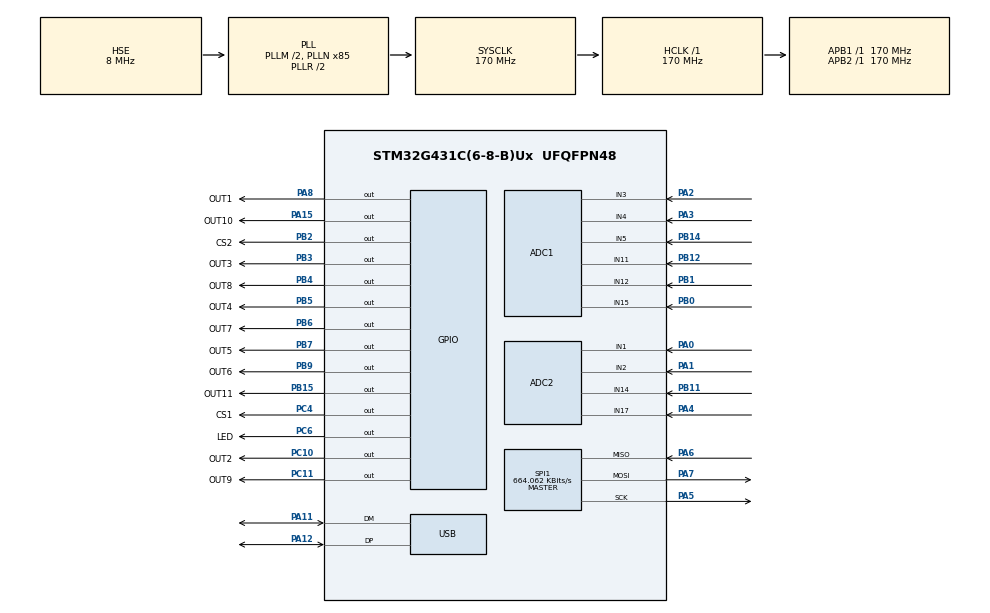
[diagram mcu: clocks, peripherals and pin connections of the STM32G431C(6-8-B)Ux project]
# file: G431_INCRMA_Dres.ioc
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ADC1.Channel-0\#ChannelRegularConversion=ADC_CHANNEL_3
ADC1.Channel-1\#ChannelRegularConversion=ADC_CHANNEL_4
ADC1.Channel-2\#ChannelRegularConversion=ADC_CHANNEL_5
ADC1.Channel-3\#ChannelRegularConversion=ADC_CHANNEL_11
ADC1.Channel-4\#ChannelRegularConversion=ADC_CHANNEL_12
ADC1.Channel-5\#ChannelRegularConversion=ADC_CHANNEL_15
ADC1.ContinuousConvMode=ENABLE
ADC1.DMAContinuousRequests=ENABLE
ADC1.NbrOfConversion=6
ADC1.NbrOfConversionFlag=1
ADC1.OffsetNumber-0\#ChannelRegularConversion=ADC_OFFSET_NONE
ADC1.OffsetNumber-1\#ChannelRegularConversion=ADC_OFFSET_NONE
ADC1.OffsetNumber-2\#ChannelRegularConversion=ADC_OFFSET_NONE
ADC1.OffsetNumber-3\#ChannelRegularConversion=ADC_OFFSET_NONE
ADC1.OffsetNumber-4\#ChannelRegularConversion=ADC_OFFSET_NONE
ADC1.OffsetNumber-5\#ChannelRegularConversion=ADC_OFFSET_NONE
ADC1.Rank-0\#ChannelRegularConversion=1
ADC1.Rank-1\#ChannelRegularConversion=2
ADC1.Rank-2\#ChannelRegularConversion=3
ADC1.Rank-3\#ChannelRegularConversion=4
ADC1.Rank-4\#ChannelRegularConversion=5
ADC1.Rank-5\#ChannelRegularConversion=6
ADC1.SamplingTime-0\#ChannelRegularConversion=ADC_SAMPLETIME_640CYCLES_5
ADC1.SamplingTime-1\#ChannelRegularConversion=ADC_SAMPLETIME_640CYCLES_5
ADC1.SamplingTime-2\#ChannelRegularConversion=ADC_SAMPLETIME_640CYCLES_5
ADC1.SamplingTime-3\#ChannelRegularConversion=ADC_SAMPLETIME_640CYCLES_5
ADC1.SamplingTime-4\#ChannelRegularConversion=ADC_SAMPLETIME_640CYCLES_5
ADC1.SamplingTime-5\#ChannelRegularConversion=ADC_SAMPLETIME_640CYCLES_5
ADC1.master=1
ADC2.Channel-0\#ChannelRegularConversion=ADC_CHANNEL_1
ADC2.Channel-1\#ChannelRegularConversion=ADC_CHANNEL_2
ADC2.Channel-2\#ChannelRegularConversion=ADC_CHANNEL_14
ADC2.Channel-3\#ChannelRegularConversion=ADC_CHANNEL_17
ADC2.ContinuousConvMode=ENABLE
ADC2.DMAContinuousRequests=ENABLE
ADC2.NbrOfConversion=4
ADC2.NbrOfConversionFlag=1
ADC2.OffsetNumber-0\#ChannelRegularConversion=ADC_OFFSET_NONE
ADC2.OffsetNumber-1\#ChannelRegularConversion=ADC_OFFSET_NONE
ADC2.OffsetNumber-2\#ChannelRegularConversion=ADC_OFFSET_NONE
ADC2.OffsetNumber-3\#ChannelRegularConversion=ADC_OFFSET_NONE
ADC2.OversamplingMode=DISABLE
ADC2.Rank-0\#ChannelRegularConversion=1
ADC2.Rank-1\#ChannelRegularConversion=2
ADC2.Rank-2\#ChannelRegularConversion=3
ADC2.Rank-3\#ChannelRegularConversion=4
ADC2.SamplingTime-0\#ChannelRegularConversion=ADC_SAMPLETIME_640CYCLES_5
ADC2.SamplingTime-1\#ChannelRegularConversion=ADC_SAMPLETIME_640CYCLES_5
ADC2.SamplingTime-2\#ChannelRegularConversion=ADC_SAMPLETIME_640CYCLES_5
ADC2.SamplingTime-3\#ChannelRegularConversion=ADC_SAMPLETIME_640CYCLES_5
Dma.ADC1.0.Direction=DMA_PERIPH_TO_MEMORY
Dma.ADC1.0.EventEnable=DISABLE
Dma.ADC1.0.Instance=DMA1_Channel1
Dma.ADC1.0.MemDataAlignment=DMA_MDATAALIGN_HALFWORD
Dma.ADC1.0.MemInc=DMA_MINC_ENABLE
Dma.ADC1.0.Mode=DMA_CIRCULAR
Dma.ADC1.0.PeriphDataAlignment=DMA_PDATAALIGN_HALFWORD
Dma.ADC1.0.PeriphInc=DMA_PINC_DISABLE
Dma.ADC1.0.Polarity=HAL_DMAMUX_REQ_GEN_RISING
Dma.ADC1.0.Priority=DMA_PRIORITY_LOW
Dma.ADC1.0.RequestNumber=1
Dma.ADC1.0.SignalID=NONE
Dma.ADC1.0.SyncEnable=DISABLE
Dma.ADC1.0.SyncPolarity=HAL_DMAMUX_SYNC_NO_EVENT
Dma.ADC1.0.SyncRequestNumber=1
Dma.ADC1.0.SyncSignalID=NONE
Dma.ADC2.1.Direction=DMA_PERIPH_TO_MEMORY
Dma.ADC2.1.EventEnable=DISABLE
Dma.ADC2.1.Instance=DMA1_Channel2
Dma.ADC2.1.MemDataAlignment=DMA_MDATAALIGN_HALFWORD
Dma.ADC2.1.MemInc=DMA_MINC_ENABLE
Dma.ADC2.1.Mode=DMA_CIRCULAR
Dma.ADC2.1.PeriphDataAlignment=DMA_PDATAALIGN_HALFWORD
Dma.ADC2.1.PeriphInc=DMA_PINC_DISABLE
Dma.ADC2.1.Polarity=HAL_DMAMUX_REQ_GEN_RISING
Dma.ADC2.1.Priority=DMA_PRIORITY_LOW
Dma.ADC2.1.RequestNumber=1
Dma.ADC2.1.SignalID=NONE
Dma.ADC2.1.SyncEnable=DISABLE
Dma.ADC2.1.SyncPolarity=HAL_DMAMUX_SYNC_NO_EVENT
Dma.ADC2.1.SyncRequestNumber=1
Dma.ADC2.1.SyncSignalID=NONE
Dma.Request0=ADC1
Dma.Request1=ADC2
FREERTOS.BinarySemaphores01=dataBinarySem,Dynamic,NULL
FREERTOS.INCLUDE_vTaskDelayUntil=1
FREERTOS.Tasks01=defaultTask,0,1024,StartDefaultTask,Default,NULL,Dynamic,NULL,NULL;sampleTask,2,128,SampleTask,Default,NULL,Dynamic,NULL,NULL
FREERTOS.configTOTAL_HEAP_SIZE=10240
Mcu.Family=STM32G4
Mcu.Name=STM32G431C(6-8-B)Ux
Mcu.Package=UFQFPN48
NVIC.DMA1_Channel1_IRQn=true\:5\:0\:false\:false\:true\:true\:false\:true\:true
NVIC.DMA1_Channel2_IRQn=true\:5\:0\:false\:false\:true\:true\:false\:true\:true
NVIC.PriorityGroup=NVIC_PRIORITYGROUP_4
NVIC.TIM1_TRG_COM_TIM17_IRQn=true\:15\:0\:false\:false\:true\:false\:false\:true\:true
NVIC.TimeBase=TIM1_TRG_COM_TIM17_IRQn
NVIC.TimeBaseIP=TIM17
NVIC.USB_LP_IRQn=true\:5\:0\:false\:false\:true\:true\:false\:true\:true
PA0.Mode=IN1-Single-Ended
PA0.Signal=ADC2_IN1
PA1.Mode=IN2-Single-Ended
PA1.Signal=ADC2_IN2
PA11.Mode=Device
PA11.Signal=USB_DM
PA12.Mode=Device
PA12.Signal=USB_DP
PA13.Mode=Serial_Wire
PA13.Signal=SYS_JTMS-SWDIO
PA14.Mode=Serial_Wire
PA14.Signal=SYS_JTCK-SWCLK
PA15.GPIO_Label=OUT10
PA15.GPIO_ModeDefaultOutputPP=GPIO_MODE_OUTPUT_PP
PA15.GPIO_PuPd=GPIO_NOPULL
PA15.GPIO_Speed=GPIO_SPEED_FREQ_VERY_HIGH
PA15.PinState=GPIO_PIN_SET
PA15.Signal=GPIO_Output
PA2.Mode=IN3-Single-Ended
PA2.Signal=ADC1_IN3
PA3.Mode=IN4-Single-Ended
PA3.Signal=ADC1_IN4
PA4.Mode=IN17-Single-Ended
PA4.Signal=ADC2_IN17
PA5.Mode=Full_Duplex_Master
PA5.Signal=SPI1_SCK
PA6.Mode=Full_Duplex_Master
PA6.Signal=SPI1_MISO
PA7.Mode=Full_Duplex_Master
PA7.Signal=SPI1_MOSI
PA8.GPIO_Label=OUT1
PA8.GPIO_ModeDefaultOutputPP=GPIO_MODE_OUTPUT_PP
PA8.GPIO_PuPd=GPIO_NOPULL
PA8.GPIO_Speed=GPIO_SPEED_FREQ_VERY_HIGH
PA8.PinState=GPIO_PIN_SET
PA8.Signal=GPIO_Output
PB0.Mode=IN15-Single-Ended
PB0.Signal=ADC1_IN15
PB1.Mode=IN12-Single-Ended
PB1.Signal=ADC1_IN12
PB11.Mode=IN14-Single-Ended
PB11.Signal=ADC2_IN14
PB12.Mode=IN11-Single-Ended
PB12.Signal=ADC1_IN11
PB14.Mode=IN5-Single-Ended
PB14.Signal=ADC1_IN5
PB15.GPIO_Label=OUT11
PB15.GPIO_PuPd=GPIO_NOPULL
PB15.GPIO_Speed=GPIO_SPEED_FREQ_VERY_HIGH
PB15.PinState=GPIO_PIN_SET
PB15.Signal=GPIO_Output
PB2.GPIO_Label=CS2
PB2.GPIO_PuPd=GPIO_PULLUP
PB2.PinState=GPIO_PIN_SET
PB2.Signal=GPIO_Output
PB3.GPIO_Label=OUT3
PB3.GPIO_ModeDefaultOutputPP=GPIO_MODE_OUTPUT_PP
PB3.GPIO_PuPd=GPIO_NOPULL
PB3.GPIO_Speed=GPIO_SPEED_FREQ_VERY_HIGH
PB3.PinState=GPIO_PIN_SET
PB3.Signal=GPIO_Output
PB4.GPIO_Label=OUT8
PB4.GPIO_ModeDefaultOutputPP=GPIO_MODE_OUTPUT_PP
PB4.GPIO_PuPd=GPIO_NOPULL
PB4.GPIO_Speed=GPIO_SPEED_FREQ_VERY_HIGH
PB4.PinState=GPIO_PIN_SET
PB4.Signal=GPIO_Output
PB5.GPIO_Label=OUT4
PB5.GPIO_ModeDefaultOutputPP=GPIO_MODE_OUTPUT_PP
PB5.GPIO_PuPd=GPIO_NOPULL
PB5.GPIO_Speed=GPIO_SPEED_FREQ_VERY_HIGH
PB5.PinState=GPIO_PIN_SET
PB5.Signal=GPIO_Output
PB6.GPIO_Label=OUT7
PB6.GPIO_ModeDefaultOutputPP=GPIO_MODE_OUTPUT_PP
PB6.GPIO_PuPd=GPIO_NOPULL
PB6.GPIO_Speed=GPIO_SPEED_FREQ_VERY_HIGH
PB6.PinState=GPIO_PIN_SET
PB6.Signal=GPIO_Output
PB7.GPIO_Label=OUT5
PB7.GPIO_ModeDefaultOutputPP=GPIO_MODE_OUTPUT_PP
PB7.GPIO_PuPd=GPIO_NOPULL
PB7.GPIO_Speed=GPIO_SPEED_FREQ_VERY_HIGH
PB7.PinState=GPIO_PIN_SET
PB7.Signal=GPIO_Output
PB9.GPIO_Label=OUT6
PB9.GPIO_ModeDefaultOutputPP=GPIO_MODE_OUTPUT_PP
PB9.GPIO_PuPd=GPIO_NOPULL
PB9.GPIO_Speed=GPIO_SPEED_FREQ_VERY_HIGH
PB9.PinState=GPIO_PIN_SET
PB9.Signal=GPIO_Output
PC10.GPIO_Label=OUT2
PC10.GPIO_ModeDefaultOutputPP=GPIO_MODE_OUTPUT_PP
PC10.GPIO_PuPd=GPIO_NOPULL
PC10.GPIO_Speed=GPIO_SPEED_FREQ_VERY_HIGH
PC10.PinState=GPIO_PIN_SET
PC10.Signal=GPIO_Output
PC11.GPIO_Label=OUT9
PC11.GPIO_ModeDefaultOutputPP=GPIO_MODE_OUTPUT_PP
PC11.GPIO_PuPd=GPIO_NOPULL
PC11.GPIO_Speed=GPIO_SPEED_FREQ_VERY_HIGH
PC11.PinState=GPIO_PIN_SET
PC11.Signal=GPIO_Output
PC4.GPIO_Label=CS1
PC4.GPIO_PuPd=GPIO_PULLUP
PC4.GPIO_Speed=GPIO_SPEED_FREQ_LOW
PC4.PinState=GPIO_PIN_SET
PC4.Signal=GPIO_Output
PC6.GPIO_Label=LED
PC6.GPIO_ModeDefaultOutputPP=GPIO_MODE_OUTPUT_PP
PC6.GPIO_PuPd=GPIO_PULLUP
PC6.GPIO_Speed=GPIO_SPEED_FREQ_VERY_HIGH
PC6.PinState=GPIO_PIN_SET
PC6.Signal=GPIO_Output
PF0-OSC_IN.Mode=HSE-External-Oscillator
PF0-OSC_IN.Signal=RCC_OSC_IN
PF1-OSC_OUT.Mode=HSE-External-Oscillator
PF1-OSC_OUT.Signal=RCC_OSC_OUT
ProjectManager.HeapSize=0x100
ProjectManager.StackSize=0x400
ProjectManager.TargetToolchain=MDK-ARM V5.32
RCC.ADC12Freq_Value=170000000
RCC.AHBFreq_Value=170000000
RCC.APB1Freq_Value=170000000
RCC.APB1TimFreq_Value=170000000
RCC.APB2Freq_Value=170000000
RCC.APB2TimFreq_Value=170000000
RCC.CK48CLockSelection=RCC_USBCLKSOURCE_HSI48
RCC.CortexFreq_Value=170000000
RCC.EXTERNAL_CLOCK_VALUE=12288000
RCC.HCLKFreq_Value=170000000
RCC.HSE_VALUE=8000000
RCC.HSI48_VALUE=48000000
RCC.HSI_VALUE=16000000
RCC.LSE_VALUE=32768
RCC.PLLM=RCC_PLLM_DIV2
RCC.PLLN=85
RCC.PLLSourceVirtual=RCC_PLLSOURCE_HSE
RCC.SYSCLKFreq_VALUE=170000000
RCC.SYSCLKSource=RCC_SYSCLKSOURCE_PLLCLK
RCC.USBFreq_Value=48000000
RCC.VCOOutputFreq_Value=340000000
SPI1.BaudRatePrescaler=SPI_BAUDRATEPRESCALER_256
SPI1.CalculateBaudRate=664.062 KBits/s
SPI1.DataSize=SPI_DATASIZE_8BIT
SPI1.Direction=SPI_DIRECTION_2LINES
SPI1.Mode=SPI_MODE_MASTER
SPI1.VirtualType=VM_MASTER
TIM7.Prescaler=169
USB_DEVICE.CLASS_NAME_FS=CDC
USB_DEVICE.VirtualMode=Cdc
USB_DEVICE.VirtualModeFS=Cdc_FS
VP_FREERTOS_VS_CMSIS_V1.Mode=CMSIS_V1
VP_SYS_VS_DBSignals.Mode=DisableDeadBatterySignals
VP_SYS_VS_tim17.Mode=TIM17
VP_TIM7_VS_ClockSourceINT.Mode=Enable_Timer
VP_USB_DEVICE_VS_USB_DEVICE_CDC_FS.Mode=CDC_FS
board=custom

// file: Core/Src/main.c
/* USER CODE BEGIN Header */
/**
  ******************************************************************************
  * @file           : main.c
  * @brief          : Main program body
  ******************************************************************************
  * @attention
  *
  * Copyright (c) 2025 STMicroelectronics.
  * All rights reserved.
  *
  * This software is licensed under terms that can be found in the LICENSE file
  * in the root directory of this software component.
  * If no LICENSE file comes with this software, it is provided AS-IS.
  *
  ******************************************************************************
  */
/* USER CODE END Header */
#include "main.h"
#include "cmsis_os.h"
#include "adc.h"
#include "dma.h"
#include "spi.h"
#include "tim.h"
#include "usb_device.h"
#include "gpio.h"

void SystemClock_Config(void);
void MX_FREERTOS_Init(void);

int main(void)
{

  /* MCU Configuration--------------------------------------------------------*/

  /* Reset of all peripherals, Initializes the Flash interface and the Systick. */
  HAL_Init();

  /* Configure the system clock */
  SystemClock_Config();

  /* Initialize all configured peripherals */
  MX_GPIO_Init();
  MX_DMA_Init();
  MX_USB_Device_Init();
  MX_ADC1_Init();
  MX_ADC2_Init();
  MX_TIM7_Init();
  MX_SPI1_Init();
  /* USER CODE BEGIN 2 */
	LL_TIM_SetCounter(TIM7, 0);
//	LL_TIM_EnableIT_UPDATE(TIM7);//start TIM7 IRQ
	LL_TIM_EnableCounter(TIM7);//start TIM7

	for(uint8_t i=0;i<5;i++)
	{
		AD5206_SetResistance(0, 0, 150);//U3 上面这个
		AD5206_SetResistance(0, 1, 150);//0为49Ω左右，1为460Ω左右，2为865Ω左右，3为1275Ω左右，4为1700Ω左右，5为2100Ω左右，6为2500Ω左右，12为4940Ω左右，24为9900Ω左右，25为10270Ω左右
		AD5206_SetResistance(0, 2, 150);//125为50.0kΩ左右
		AD5206_SetResistance(0, 3, 150);
		AD5206_SetResistance(0, 5, 150);
		AD5206_SetResistance(1, 0, 150);//U4 下面这个
		AD5206_SetResistance(1, 1, 150);//0为49Ω左右，1为440Ω左右，2为827Ω左右，3为1218Ω左右，4为1600Ω左右，5为1990Ω左右，6为2377Ω左右，12为4740Ω左右，24为9300Ω左右，25为9700Ω左右
		AD5206_SetResistance(1, 2, 150);//125为49.0kΩ左右
		AD5206_SetResistance(1, 3, 150);
		AD5206_SetResistance(1, 5, 150);
	}

//	while(1)
//	{
//		OUT10_GPIO_Port->BSRR=(OUT10_Pin << 16);//低电平
//		OUT1_GPIO_Port->BSRR=(OUT1_Pin << 16);//低电平
//		HAL_Delay(1);
//		OUT10_GPIO_Port->BSRR=OUT10_Pin;//高电平
//		OUT1_GPIO_Port->BSRR=OUT1_Pin;//高电平
//		HAL_Delay(2);
//	}
  /* USER CODE END 2 */

  /* Call init function for freertos objects (in freertos.c) */
  MX_FREERTOS_Init();

  /* Start scheduler */
  osKernelStart();

  /* We should never get here as control is now taken by the scheduler */
  /* Infinite loop */
  while (1)
  {

  }
}

void SystemClock_Config(void)
{
  RCC_OscInitTypeDef RCC_OscInitStruct = {0};
  RCC_ClkInitTypeDef RCC_ClkInitStruct = {0};

  /** Configure the main internal regulator output voltage
  */
  HAL_PWREx_ControlVoltageScaling(PWR_REGULATOR_VOLTAGE_SCALE1_BOOST);

  /** Initializes the RCC Oscillators according to the specified parameters
  * in the RCC_OscInitTypeDef structure.
  */
  RCC_OscInitStruct.OscillatorType = RCC_OSCILLATORTYPE_HSI48|RCC_OSCILLATORTYPE_HSE;
  RCC_OscInitStruct.HSEState = RCC_HSE_ON;
  RCC_OscInitStruct.HSI48State = RCC_HSI48_ON;
  RCC_OscInitStruct.PLL.PLLState = RCC_PLL_ON;
  RCC_OscInitStruct.PLL.PLLSource = RCC_PLLSOURCE_HSE;
  RCC_OscInitStruct.PLL.PLLM = RCC_PLLM_DIV2;
  RCC_OscInitStruct.PLL.PLLN = 85;
  RCC_OscInitStruct.PLL.PLLP = RCC_PLLP_DIV2;
  RCC_OscInitStruct.PLL.PLLQ = RCC_PLLQ_DIV2;
  RCC_OscInitStruct.PLL.PLLR = RCC_PLLR_DIV2;
  if (HAL_RCC_OscConfig(&RCC_OscInitStruct) != HAL_OK)
  {
    Error_Handler();
  }

  /** Initializes the CPU, AHB and APB buses clocks
  */
  RCC_ClkInitStruct.ClockType = RCC_CLOCKTYPE_HCLK|RCC_CLOCKTYPE_SYSCLK
                              |RCC_CLOCKTYPE_PCLK1|RCC_CLOCKTYPE_PCLK2;
  RCC_ClkInitStruct.SYSCLKSource = RCC_SYSCLKSOURCE_PLLCLK;
  RCC_ClkInitStruct.AHBCLKDivider = RCC_SYSCLK_DIV1;
  RCC_ClkInitStruct.APB1CLKDivider = RCC_HCLK_DIV1;
  RCC_ClkInitStruct.APB2CLKDivider = RCC_HCLK_DIV1;

  if (HAL_RCC_ClockConfig(&RCC_ClkInitStruct, FLASH_LATENCY_4) != HAL_OK)
  {
    Error_Handler();
  }
}

/* USER CODE BEGIN 4 */
void user_delaynus_tim(uint16_t nus)
{
//    uint16_t differ = 0xFFFF - nus - 5;
//	uint16_t start_cnt=LL_TIM_GetCounter(TIM7);

	LL_TIM_SetCounter(TIM7, 0);

//	if (start_cnt + nus < 0xFFFF)
	{
		while (LL_TIM_GetCounter(TIM7) < nus)
		{
			// Optionally, add a timeout condition here to avoid an infinite loop
		}

	}

//    // Set the timer counter value
//    LL_TIM_SetCounter(TIM7, differ);
//

//    // Enable the timer
//    LL_TIM_EnableCounter(TIM7);

//    // Wait until the timer reaches the target value
//    while (LL_TIM_GetCounter(TIM7) < 0xFFFF - 5)
//    {
//        // Optionally, add a timeout condition here to avoid an infinite loop
//    }

//    // Disable the timer
//    LL_TIM_DisableCounter(TIM7);

}
/* USER CODE END 4 */

void HAL_TIM_PeriodElapsedCallback(TIM_HandleTypeDef *htim)
{
  if (htim->Instance == TIM17) {
    HAL_IncTick();
  }
}

void Error_Handler(void)
{
  __disable_irq();
  while (1)
  {
  }
}

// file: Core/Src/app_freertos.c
/* USER CODE BEGIN Header */
/**
  ******************************************************************************
  * File Name          : app_freertos.c
  * Description        : Code for freertos applications
  ******************************************************************************
  * @attention
  *
  * Copyright (c) 2025 STMicroelectronics.
  * All rights reserved.
  *
  * This software is licensed under terms that can be found in the LICENSE file
  * in the root directory of this software component.
  * If no LICENSE file comes with this software, it is provided AS-IS.
  *
  ******************************************************************************
  */
/* USER CODE END Header */

#include "FreeRTOS.h"
#include "task.h"
#include "main.h"
#include "cmsis_os.h"

osThreadId defaultTaskHandle;
osThreadId sampleTaskHandle;
osSemaphoreId dataBinarySemHandle;

void StartDefaultTask(void const * argument);
void SampleTask(void const * argument);

void MX_FREERTOS_Init(void); /* (MISRA C 2004 rule 8.1) */

void MX_FREERTOS_Init(void) {

  /* Create the semaphores(s) */
  /* definition and creation of dataBinarySem */
  osSemaphoreDef(dataBinarySem);
  dataBinarySemHandle = osSemaphoreCreate(osSemaphore(dataBinarySem), 1);

  /* Create the thread(s) */
  /* definition and creation of defaultTask */
  osThreadDef(defaultTask, StartDefaultTask, osPriorityNormal, 0, 1024);
  defaultTaskHandle = osThreadCreate(osThread(defaultTask), NULL);

  /* definition and creation of sampleTask */
  osThreadDef(sampleTask, SampleTask, osPriorityHigh, 0, 128);
  sampleTaskHandle = osThreadCreate(osThread(sampleTask), NULL);

}

/* USER CODE BEGIN Header_StartDefaultTask */
/**
  * @brief  Function implementing the defaultTask thread.
  * @param  argument: Not used
  * @retval None
  */

/*
R1 :v1 5           adc1_value[5]
R2 :v1 4           adc1_value[4]
R3 :v2 0           adc2_value[0]
R4 :v1 3           adc1_value[3]
R5 :v1 1           adc1_value[1]
R7 :v1 0           adc1_value[0]
R8 :v1 2           adc1_value[2]
R9 :v2 1           adc2_value[1]
R10:v1 6           adc1_value[6]
R11:v1 7           adc1_value[7]
*/
uint16_t samp_data[11][10];
uint16_t adc1_value[6];
uint16_t adc2_value[4];
volatile Word_union res_data_1[1104];
volatile Word_union res_data_2[1104];
volatile Word_union* res_send_p=res_data_1;
volatile Word_union* res_store_p=res_data_2;
/* USER CODE END Header_StartDefaultTask */
void StartDefaultTask(void const * argument)
{
  /* USER CODE BEGIN StartDefaultTask */
	uint8_t usb_TxBuf[2048];//小心不要超过任务栈大小
	uint32_t usb_RxLength=0;
	uint8_t USBD_Result=0;

	static uint32_t index = 0;          // 数据帧索引
	static double res_ref_kOm = 60.0;

  /* Infinite loop */
	for(;;)
	{
		HAL_GPIO_TogglePin(LED_GPIO_Port,LED_Pin);

////		osSemaphoreWait(dataBinarySemHandle, osWaitForever);
		if(osSemaphoreWait(dataBinarySemHandle, 0) == osOK)
		{
			// 格式化数据帧（示例：每行11通道，共10组）
			sprintf((char *)usb_TxBuf,
					"Frame %02d: \r\n",
					index++);

			for (uint8_t i = 0; i < 11; i++) {
				sprintf((char *)usb_TxBuf + strlen((char *)usb_TxBuf),
					"line:%2d:%4d %4d %4d %4d %4d %4d %4d %4d %4d %4d \r\n",
						i+1,
						samp_data[i][0], samp_data[i][1], samp_data[i][2],
						samp_data[i][3], samp_data[i][4], samp_data[i][5],
						samp_data[i][6], samp_data[i][7], samp_data[i][8],
						samp_data[i][9]);
			}
			sprintf((char *)usb_TxBuf + strlen((char *)usb_TxBuf),
					"value: (kOm)\r\n");
			for (uint8_t i = 0; i < 11; i++) {
				sprintf((char *)usb_TxBuf + strlen((char *)usb_TxBuf),
					"line:%2d:%02.2f  %02.2f  %02.2f  %02.2f  %02.2f  %02.2f  %02.2f  %02.2f  %02.2f  %02.2f \r\n",
						i+1,
						(4095-samp_data[0][0])/(float)(4095-samp_data[i][0])*res_ref_kOm, (4095-samp_data[0][1])/(float)(4095-samp_data[i][1])*res_ref_kOm, (4095-samp_data[0][2])/(float)(4095-samp_data[i][2])*res_ref_kOm,
						(4095-samp_data[0][3])/(float)(4095-samp_data[i][3])*res_ref_kOm, (4095-samp_data[0][4])/(float)(4095-samp_data[i][4])*res_ref_kOm, (4095-samp_data[0][5])/(float)(4095-samp_data[i][5])*res_ref_kOm,
						(4095-samp_data[0][6])/(float)(4095-samp_data[i][6])*res_ref_kOm, (4095-samp_data[0][7])/(float)(4095-samp_data[i][7])*res_ref_kOm, (4095-samp_data[0][8])/(float)(4095-samp_data[i][8])*res_ref_kOm,
						(4095-samp_data[0][9])/(float)(4095-samp_data[i][9])*res_ref_kOm);
			}

			usb_RxLength=strlen((char *)usb_TxBuf);
			CDC_Transmit_FS(usb_TxBuf, usb_RxLength);//USB CDC测试

			osSemaphoreRelease(dataBinarySemHandle);
		}
		osDelay(100);

// 640.5+12.5=653
////		OUT11_GPIO_Port->BSRR = (OUT11_Pin << 16);//低电平
//		OUT11_GPIO_Port->BSRR = OUT11_Pin;//高电平
//
//		user_delaynus_tim(25);//  1/42.5MHz*105cycles *8ch = 19.76us
//
//		sprintf((char *)usb_TxBuf,"adc1_value 1: %4d %4d %4d %4d %4d %4d %4d %4d\r\n",adc1_value[0],adc1_value[1],adc1_value[2],adc1_value[3],adc1_value[4],adc1_value[5],adc1_value[6],adc1_value[7]);
//		usb_RxLength=strlen((char *)usb_TxBuf);
//		CDC_Transmit_FS(usb_TxBuf, usb_RxLength);//USB CDC测试
//
//
//		OUT11_GPIO_Port->BSRR = (OUT11_Pin << 16);//低电平
////		OUT11_GPIO_Port->BSRR = OUT11_Pin;//高电平
//
//		user_delaynus_tim(25);
//
//		sprintf((char *)usb_TxBuf,"adc1_value 2: %4d %4d %4d %4d %4d %4d %4d %4d\r\n",adc1_value[0],adc1_value[1],adc1_value[2],adc1_value[3],adc1_value[4],adc1_value[5],adc1_value[6],adc1_value[7]);
//		usb_RxLength=strlen((char *)usb_TxBuf);
//
//		user_delaynus_tim(100);
//		CDC_Transmit_FS(usb_TxBuf, usb_RxLength);//USB CDC测试
//
//
//		OUT11_GPIO_Port->BSRR = OUT11_Pin;//高电平
//		user_delaynus_tim(20);//  1/42.5MHz*260cycles *2ch = 12.24us
//		sprintf((char *)usb_TxBuf,"adc2_value  : %4d %4d\r\n",adc2_value[0],adc2_value[1]);
//		usb_RxLength=strlen((char *)usb_TxBuf);
//
//		user_delaynus_tim(500);
//		CDC_Transmit_FS(usb_TxBuf, usb_RxLength);//USB CDC测试
//
//		OUT11_GPIO_Port->BSRR = (OUT11_Pin << 16);//低电平
//		osDelay(1000);

//		for(uint16_t i = 0;i<1000;i++)
//		for(uint16_t j = 0;j<50;j++)
//		user_delaynus_tim(10);

//		user_delaynus_tim(100);
//		osDelay(100);
	}
  /* USER CODE END StartDefaultTask */
}

void SampleTask(void const * argument)
{
  /* USER CODE BEGIN SampleTask */
	HAL_ADC_Start_DMA(&hadc1, (uint32_t *)adc1_value, 6);
	HAL_ADC_Start_DMA(&hadc2, (uint32_t *)adc2_value, 4);

	TickType_t xLastWakeTime;
    const TickType_t xFrequency = pdMS_TO_TICKS(10);  // 1秒周期[6](@ref)

	res_data_1[0].byte[0]=0x55;//帧头
	res_data_1[0].byte[1]=0xAA;
	res_data_1[1].byte[0]=0xBB;
	res_data_1[1].byte[1]=0xCC;
	for(uint16_t i=0;i<1100;i++)
	{
//		res_send_p[2+i].word16=i*1+1;
		res_data_1[2+i].word16=i*1+1;
	}
	res_data_1[1102].byte[0]=0xAA;//帧尾
	res_data_1[1102].byte[1]=0x55;
	res_data_1[1103].byte[0]=0x66;
	res_data_1[1103].byte[1]=0x77;

	res_data_2[0].byte[0]=0x55;//帧头
	res_data_2[0].byte[1]=0xAA;
	res_data_2[1].byte[0]=0xBB;
	res_data_2[1].byte[1]=0xCC;
	for(uint16_t i=0;i<1100;i++)
	{
		res_data_2[2+i].word16=i*2+2;
	}
	res_data_2[1102].byte[0]=0xAA;//帧尾
	res_data_2[1102].byte[1]=0x55;
	res_data_2[1103].byte[0]=0x66;
	res_data_2[1103].byte[1]=0x77;

    xLastWakeTime = xTaskGetTickCount();  // 初始化基准时间[2](@ref)
  /* Infinite loop */
	for(;;)
	{
		for(uint8_t j=0;j<10;j++)
		{
			if(osSemaphoreWait(dataBinarySemHandle, 0) == osOK)//		osSemaphoreWait(dataBinarySemHandle, osWaitForever);
			{
				for(uint8_t i=0;i<11;i++)
				{
					select_switcher(i);
//					select_switcher_2(i);
					user_delaynus_tim(500);

//					samp_data[i][9]=adc1_value[5];//IN10对应R1
//					samp_data[i][8]=adc1_value[4];//IN9 对应R2
//					samp_data[i][7]=adc1_value[8];//IN8 对应R3
//					samp_data[i][6]=adc1_value[3];//IN7 对应R4
//					samp_data[i][5]=adc1_value[1];//IN6 对应R5
//					samp_data[i][4]=adc1_value[0];//IN5 对应R7
//					samp_data[i][3]=adc1_value[2];//IN4 对应R8
//					samp_data[i][2]=adc2_value[0];//IN3 对应R9
//					samp_data[i][1]=adc1_value[6];//IN2 对应R10
//					samp_data[i][0]=adc1_value[7];//IN1 对应R11

					samp_data[i][9]=adc1_value[3];//IN10对应R1
					samp_data[i][8]=adc1_value[2];//IN9 对应R2
					samp_data[i][7]=adc1_value[5];//IN8 对应R3
					samp_data[i][6]=adc1_value[1];//IN7 对应R4
					samp_data[i][5]=adc2_value[1];//IN6 对应R5
					samp_data[i][4]=adc2_value[0];//IN5 对应R7
					samp_data[i][3]=adc1_value[0];//IN4 对应R8
					samp_data[i][2]=adc2_value[3];//IN3 对应R9
					samp_data[i][1]=adc1_value[4];//IN2 对应R10
					samp_data[i][0]=adc2_value[2];//IN1 对应R11

//					//+2是为了跳过帧头
					res_store_p[j*110+i*10+0+2].word16=samp_data[i][0];
					res_store_p[j*110+i*10+1+2].word16=samp_data[i][1];
					res_store_p[j*110+i*10+2+2].word16=samp_data[i][2];
					res_store_p[j*110+i*10+3+2].word16=samp_data[i][3];
					res_store_p[j*110+i*10+4+2].word16=samp_data[i][4];
					res_store_p[j*110+i*10+5+2].word16=samp_data[i][5];
					res_store_p[j*110+i*10+6+2].word16=samp_data[i][6];
					res_store_p[j*110+i*10+7+2].word16=samp_data[i][7];
					res_store_p[j*110+i*10+8+2].word16=samp_data[i][8];
					res_store_p[j*110+i*10+9+2].word16=samp_data[i][9];

//////////					if( i > 0 )//不发送参考电阻的那行数据
//////////					{
//////////						//+2是为了跳过帧头
//////////						res_store_p[j*100+(i-1)*10+0+2].word16=samp_data[i][0];
//////////						res_store_p[j*100+(i-1)*10+1+2].word16=samp_data[i][1];
//////////						res_store_p[j*100+(i-1)*10+2+2].word16=samp_data[i][2];
//////////						res_store_p[j*100+(i-1)*10+3+2].word16=samp_data[i][3];
//////////						res_store_p[j*100+(i-1)*10+4+2].word16=samp_data[i][4];
//////////						res_store_p[j*100+(i-1)*10+5+2].word16=samp_data[i][5];
//////////						res_store_p[j*100+(i-1)*10+6+2].word16=samp_data[i][6];
//////////						res_store_p[j*100+(i-1)*10+7+2].word16=samp_data[i][7];
//////////						res_store_p[j*100+(i-1)*10+8+2].word16=samp_data[i][8];
//////////						res_store_p[j*100+(i-1)*10+9+2].word16=samp_data[i][9];
//////////					}

				}
				OUT11_GPIO_Port->BSRR=OUT11_Pin;//高电平
				OUT10_GPIO_Port->BSRR=OUT10_Pin;//高电平
				osSemaphoreRelease(dataBinarySemHandle);

			}
//			user_delaynus_tim(100);
			vTaskDelayUntil(&xLastWakeTime, xFrequency);//		osDelay(1);  vTaskSuspend(NULL);          // 挂起当前任务（自身）
		}
//		exchange_res_p();//切换缓存区
//		CDC_Transmit_FS(res_send_p->byte, 2208);//2008

//		osDelay(1000);

	}
  /* USER CODE END SampleTask */
}

/* USER CODE BEGIN Application */

//电压采集完成之后需要进行缓存切换
void exchange_res_p(void)
{
	static uint8_t state=1;//第一次运行该函数前 采集的数据存到res_data_2   第一次运行该函数后状态变为0，发送的指针指向res_data_1  之后循环往复
	state=!state;

	if(state)
	{
		res_send_p=res_data_1;
		res_store_p=res_data_2;
	}
	else
	{
		res_send_p=res_data_2;
		res_store_p=res_data_1;
	}
}

void select_switcher(uint8_t index)
{
	switch(index)
	{
		case 0:
			OUT10_GPIO_Port->BSRR=OUT10_Pin;//高电平
			OUT11_GPIO_Port->BSRR=(OUT11_Pin << 16);//低电平
			break;
		case 1:
			OUT11_GPIO_Port->BSRR=OUT11_Pin;//高电平
			OUT1_GPIO_Port->BSRR =(OUT1_Pin << 16);//低电平
			break;
		case 2:
			OUT1_GPIO_Port->BSRR=OUT1_Pin;//高电平
			OUT2_GPIO_Port->BSRR=(OUT2_Pin << 16);//低电平
			break;
		case 3:
			OUT2_GPIO_Port->BSRR=OUT2_Pin;//高电平
			OUT3_GPIO_Port->BSRR=(OUT3_Pin << 16);//低电平
			break;
		case 4:
			OUT3_GPIO_Port->BSRR=OUT3_Pin;//高电平
			OUT4_GPIO_Port->BSRR=(OUT4_Pin << 16);//低电平
			break;
		case 5:
			OUT4_GPIO_Port->BSRR=OUT4_Pin;//高电平
			OUT5_GPIO_Port->BSRR=(OUT5_Pin << 16);//低电平
			break;
		case 6:
			OUT5_GPIO_Port->BSRR=OUT5_Pin;//高电平
			OUT6_GPIO_Port->BSRR=(OUT6_Pin << 16);//低电平
			break;
		case 7:
			OUT6_GPIO_Port->BSRR=OUT6_Pin;//高电平
			OUT7_GPIO_Port->BSRR=(OUT7_Pin << 16);//低电平
			break;
		case 8:
			OUT7_GPIO_Port->BSRR=OUT7_Pin;//高电平
			OUT8_GPIO_Port->BSRR=(OUT8_Pin << 16);//低电平
			break;
		case 9:
			OUT8_GPIO_Port->BSRR=OUT8_Pin;//高电平
			OUT9_GPIO_Port->BSRR=(OUT9_Pin << 16);//低电平
			break;
		case 10:
			OUT9_GPIO_Port->BSRR =OUT9_Pin;//高电平
			OUT10_GPIO_Port->BSRR=(OUT10_Pin << 16);//低电平
			break;
	}
}
void select_switcher_2(uint8_t index)
{
	switch(index)
	{
		case 0:
//			OUT1_GPIO_Port->BSRR=OUT1_Pin;//高电平
//			OUT2_GPIO_Port->BSRR=OUT2_Pin;//高电平
//			OUT3_GPIO_Port->BSRR=OUT3_Pin;//高电平
//			OUT4_GPIO_Port->BSRR=OUT4_Pin;//高电平
//			OUT5_GPIO_Port->BSRR=OUT5_Pin;//高电平
//			OUT6_GPIO_Port->BSRR=OUT6_Pin;//高电平
//			OUT7_GPIO_Port->BSRR=OUT7_Pin;//高电平
//			OUT8_GPIO_Port->BSRR=OUT8_Pin;//高电平
//			OUT9_GPIO_Port->BSRR=OUT9_Pin;//高电平
			OUT10_GPIO_Port->BSRR=OUT10_Pin;//高电平
			OUT11_GPIO_Port->BSRR=(OUT11_Pin << 16);//低电平
			break;
		case 1:
			OUT11_GPIO_Port->BSRR=OUT11_Pin;//高电平
			OUT1_GPIO_Port->BSRR =(OUT1_Pin << 16);//低电平
			break;
		case 3:
			OUT11_GPIO_Port->BSRR=OUT11_Pin;//高电平
			OUT1_GPIO_Port->BSRR=OUT1_Pin;//高电平
			OUT2_GPIO_Port->BSRR=(OUT2_Pin << 16);//低电平
			break;
		case 5:
			OUT11_GPIO_Port->BSRR=OUT11_Pin;//高电平
			OUT2_GPIO_Port->BSRR=OUT2_Pin;//高电平
			OUT3_GPIO_Port->BSRR=(OUT3_Pin << 16);//低电平
			break;
		case 7:
			OUT11_GPIO_Port->BSRR=OUT11_Pin;//高电平
			OUT3_GPIO_Port->BSRR=OUT3_Pin;//高电平
			OUT4_GPIO_Port->BSRR=(OUT4_Pin << 16);//低电平
			break;
		case 9:
			OUT11_GPIO_Port->BSRR=OUT11_Pin;//高电平
			OUT4_GPIO_Port->BSRR=OUT4_Pin;//高电平
			OUT5_GPIO_Port->BSRR=(OUT5_Pin << 16);//低电平
			break;
		case 11:
			OUT11_GPIO_Port->BSRR=OUT11_Pin;//高电平
			OUT5_GPIO_Port->BSRR=OUT5_Pin;//高电平
			OUT6_GPIO_Port->BSRR=(OUT6_Pin << 16);//低电平
			break;
		case 13:
			OUT11_GPIO_Port->BSRR=OUT11_Pin;//高电平
			OUT6_GPIO_Port->BSRR=OUT6_Pin;//高电平
			OUT7_GPIO_Port->BSRR=(OUT7_Pin << 16);//低电平
			break;
		case 15:
			OUT11_GPIO_Port->BSRR=OUT11_Pin;//高电平
			OUT7_GPIO_Port->BSRR=OUT7_Pin;//高电平
			OUT8_GPIO_Port->BSRR=(OUT8_Pin << 16);//低电平
			break;
		case 17:
			OUT11_GPIO_Port->BSRR=OUT11_Pin;//高电平
			OUT8_GPIO_Port->BSRR=OUT8_Pin;//高电平
			OUT9_GPIO_Port->BSRR=(OUT9_Pin << 16);//低电平
			break;
		case 19:
			OUT11_GPIO_Port->BSRR=OUT11_Pin;//高电平
			OUT9_GPIO_Port->BSRR =OUT9_Pin;//高电平
			OUT10_GPIO_Port->BSRR=(OUT10_Pin << 16);//低电平
			break;
		case 2:case 4:case 6:case 8:case 10:case 12:case 14:case 16:case 18:case 20:
			OUT11_GPIO_Port->BSRR =(OUT11_Pin << 16);//低电平
			break;
	}
}
// 设置AD5206的电阻值
// index: 0 1
// channel: 0~5
// resistance: 0~255
void AD5206_SetResistance(uint8_t index, uint8_t channel, uint8_t resistance) {
		uint8_t spi_data[2]={0x00,10};

    // 确保通道和电阻值在有效范围内
    if (channel > 5) return; // AD5206有6个通道，通道号从0到5
    if (resistance > 255) return; // 电阻值应在0到255之间
		if (index!=0 && index!=1) return;

		if(index==0)
			HAL_GPIO_WritePin(CS1_GPIO_Port,CS1_Pin,0);
		else if(index==1)
			HAL_GPIO_WritePin(CS2_GPIO_Port,CS2_Pin,0);

		spi_data[0]=channel;
		spi_data[1]=resistance;

		HAL_SPI_Transmit(&hspi1,spi_data,2,0xffff);
    if(index==0)
		HAL_GPIO_WritePin(CS1_GPIO_Port,CS1_Pin,1);
	else if(index==1)
		HAL_GPIO_WritePin(CS2_GPIO_Port,CS2_Pin,1);
}
/* USER CODE END Application */
